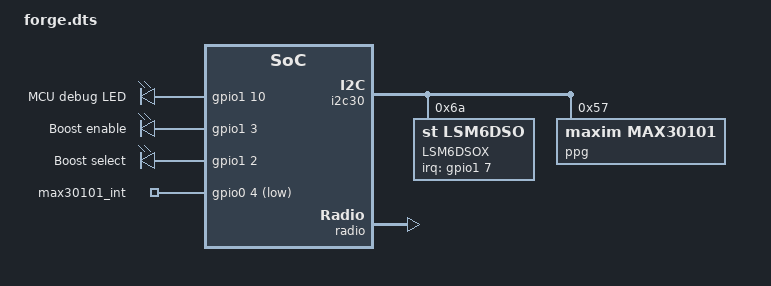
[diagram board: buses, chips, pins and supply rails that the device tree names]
#include <zephyr/dt-bindings/sensor/lsm6dso.h>

/ {
    aliases {
        led0 = &mcu_debug;
        my-int = &max30101_int;
        boost-en = &boost_en;
        boost-sel = &boost_sel;
        user-memory = &storage_partition;
    };
    leds {
		compatible = "gpio-leds";

        status = "okay";

		mcu_debug: led_0 {
			gpios = <&gpio1 10 GPIO_ACTIVE_HIGH>;
			label = "MCU debug LED";
		};

        boost_en: boost_en {
            gpios = <&gpio1 3 GPIO_ACTIVE_HIGH>;
            label = "Boost enable";
        };

        boost_sel: boost_sel {
            gpios = <&gpio1 2 GPIO_ACTIVE_HIGH>;
            label = "Boost select";
        };
	};
    ppg_int {
        compatible = "gpio-keys";
        max30101_int: gang {
            gpios = <&gpio0 4 (GPIO_PULL_UP | GPIO_ACTIVE_LOW)>;
        };
    };

    
};
&gpiote30 {
    status = "okay";
};

&gpiote20 {
    status = "okay";
};

&i2c30 {
	status = "okay";

    pinctrl-0 = <&i2c1_default>;
    pinctrl-1 = <&i2c1_sleep>;
    pinctrl-names = "default", "sleep";

	accelerometer: lsm6dso@6a {
        status = "okay";
		compatible = "st,lsm6dso";
		reg = <0x6a>;                   // 0x6a if SDO=0, use 0x6b if SDO=1
		label = "LSM6DSOX";
		irq-gpios = <&gpio1 7 GPIO_ACTIVE_HIGH>;
		int-pin = <1>;          // 1 = INT1, 2 = INT2
        accel-pm = <LSM6DSO_DT_XL_ULP_MODE>;
        accel-range = <LSM6DSO_DT_FS_2G>;
        accel-odr = <LSM6DSO_DT_ODR_12Hz5>;
        gyro-pm = <LSM6DSO_DT_GY_NORMAL_MODE>;
	};

    ppg: max30101@57 {
        status = "okay";
        compatible = "maxim,max30101";
        reg = <0x57>; // the datasheet says 0xae, but devboard said 0x57, may run into issues laters
    };
};

&clock {
    status = "okay";
};

&radio {
    status = "okay";
};

